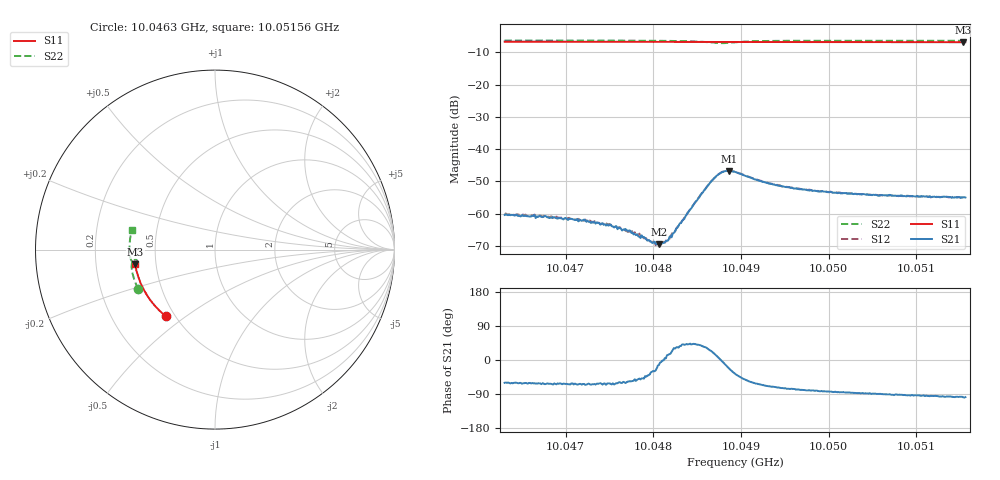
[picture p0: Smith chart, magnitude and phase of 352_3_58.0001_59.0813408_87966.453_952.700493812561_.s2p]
#  HZ  S  RI  R  50.00
! Rohde & Schwarz Vector Network Analyzer
! Rohde-Schwarz,ZNB20-2Port,1311601062101988,3.16
! Created: UTC 3/21/2024, 1:06:04 AM
! freq[Hz]  re:S11  im:S11  re:S21  im:S21  re:S12  im:S12  re:S22  im:S22
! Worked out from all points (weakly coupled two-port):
!   401 points, 10.0463 GHz to 10.05156 GHz, reference 50 ohm
!   highest |S21| = -46.74 dB at 10.04887 GHz (marker M1); lowest = -69.5 dB at 10.04806 GHz (marker M2)
!   lowest |S11| = -6.9 dB at 10.05153 GHz (marker M3), VSWR 2.65, Z = 19 - j3.87 ohm
!   |S11| at or under -10 dB: nowhere
!   |S22| runs from -7.2 to -6.4 dB; largest |S21 - S12| = 0.00033
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1.0046304e10  -0.2743 -0.3708  0.000476 -0.00083  0.00054 -0.000787  -0.4277 -0.2202
1.0046619e10  -0.2904 -0.3574  0.000451 -0.000806  0.000502 -0.000809  -0.4366 -0.2009
1.0047184e10  -0.3176 -0.3319  0.000329 -0.000703  0.000402 -0.000723  -0.4503 -0.1651
1.0047486e10  -0.3313 -0.3173  0.00031 -0.000576  0.000342 -0.000593  -0.4563 -0.1451
1.0047644e10  -0.3382 -0.3094  0.000272 -0.000476  0.000332 -0.000481  -0.4591 -0.1342
1.004771e10  -0.3411 -0.3063  0.000294 -0.00045  0.000295 -0.000431  -0.46 -0.1295
1.0047828e10  -0.3459 -0.3001  0.000286 -0.000344  0.000319 -0.000339  -0.4617 -0.1211
1.0047894e10  -0.3486 -0.2968  0.000284 -0.00033  0.000326 -0.000254  -0.4625 -0.1162
1.0047959e10  -0.3513 -0.2933  0.000298 -0.000234  0.000313 -0.000203  -0.4631 -0.1115
1.0048064e10  -0.3555 -0.2877  0.000327 -7.46e-05  0.000351 -6.62e-05  -0.4641 -0.1032
1.0048104e10  -0.3571 -0.2859  0.000352 -8.45e-06  0.000332 -1.85e-06  -0.4644 -0.1002
1.0048183e10  -0.3604 -0.2817  0.000417 0.000116  0.000383 0.000122  -0.4645 -0.0938
1.0048551e10  -0.3739 -0.2616  0.00161 0.00124  0.00157 0.00136  -0.4552 -0.061
1.0048695e10  -0.3789 -0.2536  0.0034 0.00106  0.00333 0.00123  -0.4394 -0.0562
1.0048787e10  -0.3818 -0.2486  0.00439 -0.000313  0.00445 -1.55e-05  -0.4321 -0.0647
1.0048866e10  -0.3846 -0.2442  0.00422 -0.00183  0.00438 -0.00154  -0.4364 -0.0738
1.0048932e10  -0.3869 -0.2407  0.00359 -0.00263  0.00379 -0.00239  -0.4444 -0.0763
1.0049339e10  -0.4 -0.2174  0.000988 -0.00274  0.00116 -0.00267  -0.471 -0.0473
1.0049812e10  -0.4132 -0.1893  0.000387 -0.00224  0.000516 -0.00222  -0.4762 -0.0108
1.0050692e10  -0.4327 -0.1349  -1.71e-05 -0.00195  8.07e-05 -0.00191  -0.4741 0.0503
1.0051533e10  -0.4446 -0.081  -0.000262 -0.00177  -0.000146 -0.00178  -0.4644 0.1057
1.005156e10  -0.445 -0.0794  -0.000245 -0.00176  -0.000161 -0.00179  -0.4641 0.1072
